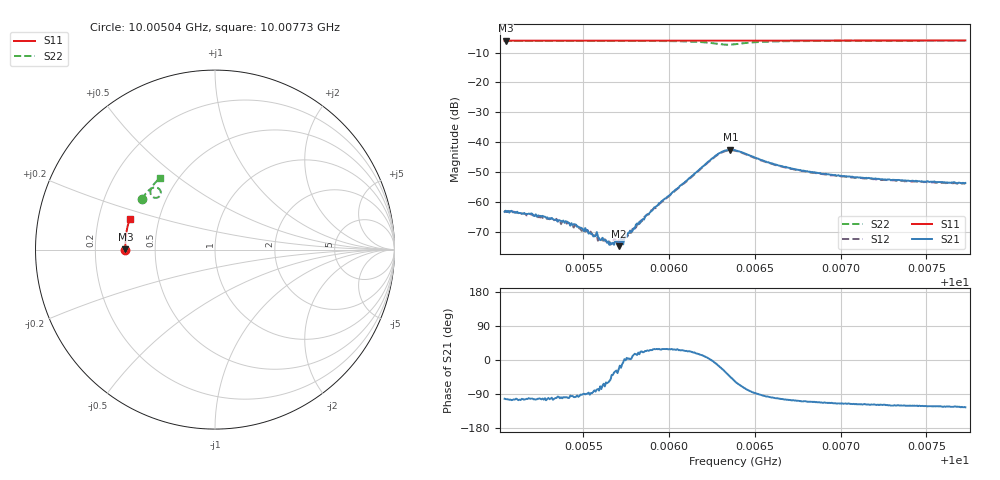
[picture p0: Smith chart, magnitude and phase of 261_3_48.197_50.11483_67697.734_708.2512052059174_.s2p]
#  HZ  S  RI  R  50.00
! Rohde & Schwarz Vector Network Analyzer
! Rohde-Schwarz,ZNB20-2Port,1311601062101988,3.16
! Created: UTC 3/20/2024, 11:47:46 AM
! freq[Hz]  re:S11  im:S11  re:S21  im:S21  re:S12  im:S12  re:S22  im:S22
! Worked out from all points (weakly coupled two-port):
!   401 points, 10.00504 GHz to 10.00773 GHz, reference 50 ohm
!   highest |S21| = -42.57 dB at 10.00636 GHz (marker M1); lowest = -74.9 dB at 10.00571 GHz (marker M2)
!   lowest |S11| = -6.0 dB at 10.00505 GHz (marker M3), VSWR 3.00, Z = 16.7 + j0.0356 ohm
!   |S11| at or under -10 dB: nowhere
!   |S22| runs from -7.4 to -6.0 dB; largest |S21 - S12| = 0.00042
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1.0005041e10  -0.4998 0.000337  -0.000144 -0.000661  -0.000158 -0.000702  -0.4077 0.2803
1.0005048e10  -0.4997 0.0008  -0.000161 -0.000689  -0.000119 -0.000662  -0.4075 0.2808
1.0005189e10  -0.4999 0.00989  -0.000131 -0.000608  -0.000114 -0.0006  -0.4022 0.289
1.000533e10  -0.5 0.0191  -0.000107 -0.000487  -7.73e-05 -0.000484  -0.3966 0.2974
1.0005444e10  -0.4999 0.0265  -5.72e-05 -0.000419  -2.03e-05 -0.000368  -0.3916 0.3042
1.0005491e10  -0.4997 0.0297  -1.09e-05 -0.000358  1.1e-06 -0.000323  -0.3894 0.3071
1.0005531e10  -0.4997 0.0322  1.96e-05 -0.000291  2.66e-05 -0.000297  -0.3876 0.3096
1.0005598e10  -0.4995 0.0366  7.99e-05 -0.000213  7.55e-05 -0.000216  -0.3842 0.3136
1.0005645e10  -0.4993 0.0398  0.000112 -0.000185  0.000114 -0.000161  -0.382 0.3166
1.0005679e10  -0.4991 0.0418  0.00016 -0.000103  0.000167 -0.000167  -0.3803 0.3187
1.0005706e10  -0.4992 0.0435  0.000163 -7.62e-05  0.000215 -7.58e-05  -0.3786 0.3204
1.0005719e10  -0.499 0.0444  0.000227 -8.5e-05  0.00022 -3.66e-05  -0.3779 0.3212
1.000582e10  -0.4987 0.0509  0.000394 0.00014  0.000431 0.000175  -0.3717 0.3278
1.0005941e10  -0.498 0.0588  0.000822 0.000462  0.000772 0.00046  -0.3623 0.3358
1.0006263e10  -0.4953 0.0795  0.00564 -0.000611  0.00553 -0.000288  -0.3054 0.3308
1.0006317e10  -0.4948 0.0826  0.0063 -0.00317  0.00627 -0.00286  -0.3034 0.3071
1.0006357e10  -0.4944 0.0851  0.00524 -0.00529  0.00536 -0.00488  -0.3159 0.2917
1.0006384e10  -0.4942 0.0867  0.00404 -0.00608  0.00427 -0.00574  -0.3281 0.2881
1.0006626e10  -0.4923 0.102  -0.000784 -0.00409  -0.000564 -0.00404  -0.3591 0.3292
1.0006834e10  -0.4899 0.1153  -0.00109 -0.00294  -0.000948 -0.0029  -0.3501 0.3506
1.0007284e10  -0.4833 0.1438  -0.00116 -0.00206  -0.00101 -0.00208  -0.3274 0.3788
1.0007727e10  -0.4752 0.1711  -0.00118 -0.00169  -0.00104 -0.0017  -0.3047 0.4
